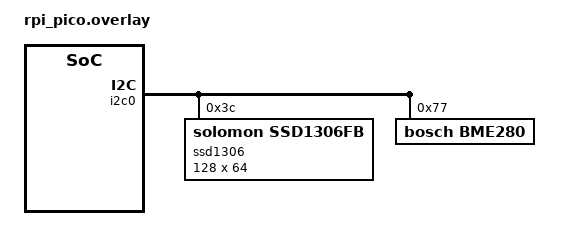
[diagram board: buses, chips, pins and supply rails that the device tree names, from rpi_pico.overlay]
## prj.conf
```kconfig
CONFIG_LOG=y
CONFIG_SENSOR=y
CONFIG_SENSOR_ASYNC_API=y

CONFIG_I2C=y
CONFIG_DISPLAY=y
CONFIG_SSD1306=y
# From Zephyr 3.5.0 CONFIG_SSD1306_DEFAULT is no longer used
# CONFIG_SSD1306_DEFAULT=y
CONFIG_SSD1306_DEFAULT_CONTRAST=128

CONFIG_HEAP_MEM_POOL_SIZE=16384
CONFIG_CFB_LOG_LEVEL_DBG=y
CONFIG_CHARACTER_FRAMEBUFFER=y
```

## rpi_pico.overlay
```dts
/ {
	chosen {
		zephyr,display = &ssd1306;
	};
};

&i2c0 {
      ssd1306: ssd1306@3c {
      	       compatible = "solomon,ssd1306fb";
	       reg = <0x3c>;
	       height = <64>;
	       width = <128>;
	       segment-offset = <0>;
	       page-offset = <0>;
	       display-offset = <0>;
	       multiplex-ratio = <63>;
	       prechargep = <0x22>;
	       com-invdir;
	       segment-remap;
      };
      bme280: bme280@77 {
		compatible = "bosch,bme280";
		reg = <0x77>;
      };
};
```

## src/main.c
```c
#include <stdio.h>
#include <zephyr/logging/log.h>
#include <zephyr/kernel.h>
#include <zephyr/device.h>
#include <zephyr/devicetree.h>
#include <zephyr/drivers/sensor.h>
#include <zephyr/drivers/sensor_data_types.h>
#include <zephyr/rtio/rtio.h>
#include <zephyr/dsp/print_format.h>
#include <stdint.h>
#include <zephyr/display/cfb.h>

/* 1000 msec = 1 sec */
#define SLEEP_TIME_MS   1000

LOG_MODULE_REGISTER(foo,LOG_LEVEL_DBG);

static const struct device *disp = DEVICE_DT_GET(DT_CHOSEN(zephyr_display));

static const struct device *dev = DEVICE_DT_GET(DT_NODELABEL(bme280));

SENSOR_DT_READ_IODEV(iodev, DT_NODELABEL(bme280),
		{SENSOR_CHAN_AMBIENT_TEMP, 0},
		{SENSOR_CHAN_HUMIDITY, 0},
		{SENSOR_CHAN_PRESS, 0});

RTIO_DEFINE(ctx, 1, 1);

int main(void)
{
	if (dev == NULL) {
		/* No such node, or the node does not have status "okay". */
		LOG_ERR("\nError: no device found.\n");
		return -1;
	}

	if (!device_is_ready(dev)) {
		LOG_ERR("\nError: Device \"%s\" is not ready; "
		       "check the driver initialization logs for errors.\n",
		       dev->name);
		return -1;
	}

	printk("Found device \"%s\", getting sensor data\n", dev->name);
	
	uint16_t x_res;
	uint16_t y_res;
	uint16_t rows;
	uint8_t ppt;
	
	if (disp == NULL) {
		LOG_ERR("display pointer is NULL");
		return 1;
	}

	if (!device_is_ready(disp)) {
		LOG_ERR("display device is not ready");
		return 1;
	}
        if (display_set_pixel_format(disp, PIXEL_FORMAT_MONO10) != 0) {
		if (display_set_pixel_format(disp, PIXEL_FORMAT_MONO01) != 0) {
			LOG_ERR("Failed to set required pixel format");
			return 0;
		}
	}

	//printf("Initialized %s\n", disp->name);

	if (cfb_framebuffer_init(disp)) {
		LOG_ERR("Framebuffer initialization failed!\n");
		return 0;
	}

	cfb_framebuffer_clear(disp, true);

	display_blanking_off(disp);

	x_res = cfb_get_display_parameter(disp, CFB_DISPLAY_WIDTH);
	y_res = cfb_get_display_parameter(disp, CFB_DISPLAY_HEIGH);
	rows = cfb_get_display_parameter(disp, CFB_DISPLAY_ROWS);
	ppt = cfb_get_display_parameter(disp, CFB_DISPLAY_PPT);
	
	
	while (1) {
		
		uint8_t buf[128];

		int rc = sensor_read(&iodev, &ctx, buf, 128);

		if (rc != 0) {
			LOG_ERR("%s: sensor_read() failed: %d\n", dev->name, rc);
			return rc;
		}
		
		///
		
		const struct sensor_decoder_api *decoder;

		rc = sensor_get_decoder(dev, &decoder);

		if (rc != 0) {
			LOG_ERR("%s: sensor_get_decode() failed: %d\n", dev->name, rc);
			return rc;
		}

		uint32_t temp_fit = 0;
		struct sensor_q31_data temp_data = {0};

		decoder->decode(buf,
			(struct sensor_chan_spec) {SENSOR_CHAN_AMBIENT_TEMP, 0},
			&temp_fit, 1, &temp_data);

		uint32_t press_fit = 0;
		struct sensor_q31_data press_data = {0};

		decoder->decode(buf,
				(struct sensor_chan_spec) {SENSOR_CHAN_PRESS, 0},
				&press_fit, 1, &press_data);

		uint32_t hum_fit = 0;
		struct sensor_q31_data hum_data = {0};

		decoder->decode(buf,
				(struct sensor_chan_spec) {SENSOR_CHAN_HUMIDITY, 0},
				&hum_fit, 1, &hum_data);

		LOG_INF("temp: %s%d.%d; press: %s%d.%d; humidity: %s%d.%d\n",
			PRIq_arg(temp_data.readings[0].temperature, 6, temp_data.shift),
			PRIq_arg(press_data.readings[0].pressure, 6, press_data.shift),
			PRIq_arg(hum_data.readings[0].humidity, 6, hum_data.shift));
		
		///

		char t[16];

		sprintf(t, "%s%d.%d\n", PRIq_arg(temp_data.readings[0].temperature, 6, temp_data.shift));
		if (cfb_print(disp, "Temp:", 0, y_res/3)) {
			LOG_ERR("Failed to print a string\n");
		}
		if (cfb_print(disp, (char* const)t, 0, y_res*2/3)) {
			LOG_ERR("Failed to print a string\n");
		}
		cfb_framebuffer_finalize(disp);
		
		LOG_INF("Hello Log!");
		k_msleep(SLEEP_TIME_MS);
	}
	return 0;
}
```
